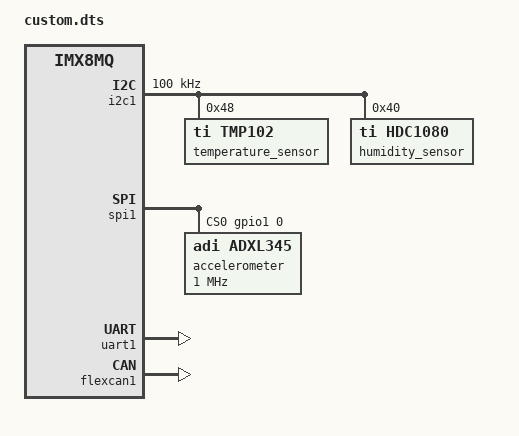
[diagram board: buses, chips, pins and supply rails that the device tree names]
/dts-v1/;

/ {
    compatible = "solidrun,hummingboard", "fsl,imx8mq";
    
    fragment@0 {
        target = <&gpio1>;
        __overlay__ {
            pinctrl_gpio1: gpio1_pins {
                fsl,pins = <
                    MX8MQ_IOMUXC_GPIO1_IO00_GPIO1_IO0  0x16
                    MX8MQ_IOMUXC_GPIO1_IO01_GPIO1_IO1  0x16
                    MX8MQ_IOMUXC_GPIO1_IO02_GPIO1_IO2  0x16
                >;
            };
        };
    };
    
    fragment@1 {
        target = <&i2c1>;
        __overlay__ {
            status = "okay";
            clock-frequency = <100000>;
            
            temperature_sensor: tmp102@48 {
                compatible = "ti,tmp102";
                reg = <0x48>;
                status = "okay";
            };
            
            humidity_sensor: hdc1080@40 {
                compatible = "ti,hdc1080";
                reg = <0x40>;
                status = "okay";
            };
        };
    };
    
    fragment@2 {
        target = <&spi1>;
        __overlay__ {
            status = "okay";
            cs-gpios = <&gpio1 0 0>;
            
            accelerometer: adxl345@0 {
                compatible = "adi,adxl345";
                reg = <0>;
                spi-max-frequency = <1000000>;
                status = "okay";
            };
        };
    };
    
    fragment@3 {
        target = <&uart1>;
        __overlay__ {
            status = "okay";
            pinctrl-0 = <&pinctrl_uart1>;
        };
    };
    
    fragment@4 {
        target = <&flexcan1>;
        __overlay__ {
            status = "okay";
            pinctrl-0 = <&pinctrl_flexcan1>;
        };
    };
};
